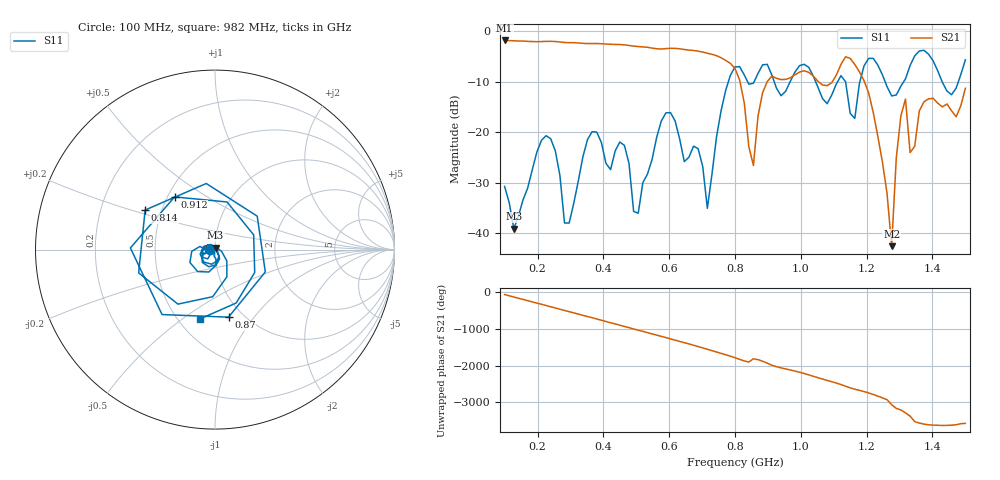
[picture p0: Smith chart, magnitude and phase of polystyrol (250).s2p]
! NanoVNA-App
! Date: 2025-09-25 15:31:50
! Start: 100MHz Stop: 1,5GHz Points: 101
! S-Parameter data: F S11 S21 S12 S22
# Hz S RI R 50
!  Frequency  S11_Real  S11_Imag  S21_Real  S21_Imag  S12_Real  S12_Imag  S22_Real  S22_Imag
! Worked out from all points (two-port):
!   101 points, 100 MHz to 1.5 GHz, reference 50 ohm
!   highest |S21| = -1.80 dB at 100 MHz (marker M1); lowest = -42.5 dB at 1.276 GHz (marker M2)
!   |S21| within 3 dB of the highest: start of sweep to 743.2 MHz
!   lowest |S11| = -39.1 dB at 128 MHz (marker M3), VSWR 1.02, Z = 50.3 + j1.06 ohm
!   |S11| at or under -10 dB: start of sweep to 779.7 MHz; 1.045 GHz to 1.112 GHz (66.27 MHz wide, 6.15 % of centre); 1.256 GHz to 1.312 GHz (55.91 MHz wide, 4.35 % of centre) (the widest 3 of 7)
!   S12 and S22 are empty: the file has one direction only
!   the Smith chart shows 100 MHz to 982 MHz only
!   S11 on the Smith chart (normalised r, x): 100 MHz: 0.94, -0.01; 814 MHz: 0.40, +0.22; 870 MHz: 0.86, -0.76; 912 MHz: 0.54, +0.37; 982 MHz: 0.64, -0.58
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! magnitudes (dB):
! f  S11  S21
! 100 MHz  -30.7  -1.8
! 128 MHz  -39.1  -1.9
! 212 MHz  -21.6  -2.0
! 282 MHz  -37.9  -2.2
! 338 MHz  -24.8  -2.4
! 464 MHz  -22.6  -2.7
! 506 MHz  -36.0  -3.0
! 576 MHz  -17.8  -3.5
! 716 MHz  -35.0  -4.3
! 800 MHz  -7.0  -7.3
! 814 MHz  -7.0  -9.6
! 856 MHz  -10.3  -26.6
! 870 MHz  -8.3  -16.7
! 912 MHz  -8.6  -8.8
! 982 MHz  -8.1  -8.6
! 1.038 GHz  -8.9  -8.9
! 1.164 GHz  -17.2  -6.6
! 1.192 GHz  -6.8  -9.8
! 1.276 GHz  -12.8  -42.5
! 1.318 GHz  -9.4  -13.4
! 1.332 GHz  -6.8  -24.0
! 1.5 GHz  -5.6  -11.3
